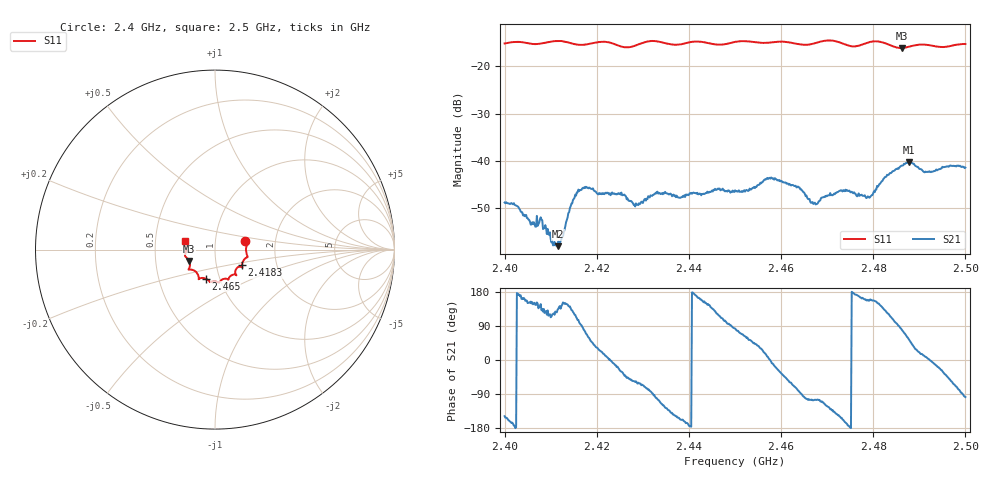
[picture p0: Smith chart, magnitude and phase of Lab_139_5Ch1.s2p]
# Hz S RI R 50
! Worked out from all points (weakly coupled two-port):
!   601 points, 2.4 GHz to 2.5 GHz, reference 50 ohm
!   highest |S21| = -40.28 dB at 2.4878 GHz (marker M1); lowest = -58.1 dB at 2.4115 GHz (marker M2)
!   lowest |S11| = -16.1 dB at 2.4862 GHz (marker M3), VSWR 1.37, Z = 37.2 - j4.83 ohm
!   |S11| at or under -10 dB: start of sweep to end of sweep
!   S12 and S22 are empty: the file has one direction only
!   S11 on the Smith chart (normalised r, x): 2.4 GHz: 1.40, +0.14; 2.4183 GHz: 1.33, -0.24; 2.465 GHz: 0.86, -0.28; 2.5 GHz: 0.71, +0.07
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2.4e9  0.1689 0.047  -0.00306 -0.00189  0 0  0 0
2.4025e9  0.1788 0.0356  -0.00333 -0.00014  0 0  0 0
2.406167e9  0.1728 0.00684  -0.00178 0.00115  0 0  0 0
2.408e9  0.1749 -0.0159  -0.00157 0.00178  0 0  0 0
2.4115e9  0.1822 -0.0397  -0.000841 0.000909  0 0  0 0
2.4125e9  0.1807 -0.0418  -0.00129 0.000867  0 0  0 0
2.414833e9  0.1664 -0.0509  -0.0023 0.00305  0 0  0 0
2.416667e9  0.1549 -0.0683  -0.000164 0.00489  0 0  0 0
2.418333e9  0.1503 -0.0872  0.00272 0.00441  0 0  0 0
2.4285e9  0.1128 -0.1236  0.00195 -0.00293  0 0  0 0
2.433333e9  0.1175 -0.1412  -0.00118 -0.00431  0 0  0 0
2.45e9  0.0264 -0.1801  0.000587 0.00481  0 0  0 0
2.457833e9  -0.0163 -0.179  0.00662 -0.000483  0 0  0 0
2.465e9  -0.0524 -0.1615  -0.000569 -0.00456  0 0  0 0
2.466667e9  -0.0712 -0.1577  -0.000899 -0.00347  0 0  0 0
2.473167e9  -0.0913 -0.1511  -0.00428 -0.00219  0 0  0 0
2.479e9  -0.1423 -0.111  -0.00378 0.00164  0 0  0 0
2.483333e9  -0.141 -0.0963  -0.00372 0.00602  0 0  0 0
2.486167e9  -0.1433 -0.0633  0.00148 0.00873  0 0  0 0
2.487833e9  -0.1551 -0.0481  0.00594 0.00765  0 0  0 0
2.4915e9  -0.1668 -0.0317  0.00754 0.00103  0 0  0 0
2.5e9  -0.1665 0.0469  -0.00115 -0.00837  0 0  0 0
